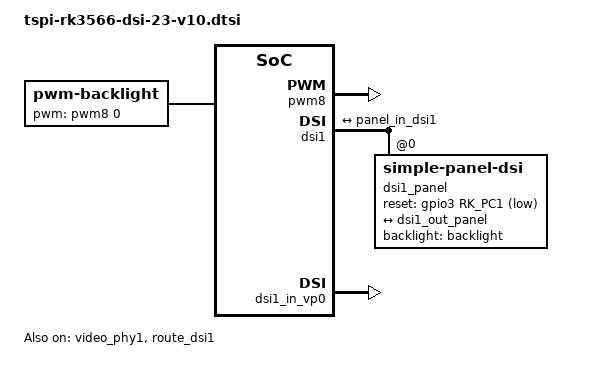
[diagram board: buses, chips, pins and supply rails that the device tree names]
/*********************************************************************
 *           立创开发板不靠卖板赚钱，以培养中国工程师为己任  
 *         泰山派软硬件资料与相关扩展板软硬件资料官网全部开源
 *                      开发板官网：www.lckfb.com            
 *                     立创论坛：oshwhub.com/forum           
 *            关注B站：【立创开发板】，掌握我们的最新动态！  
 *********************************************************************
 * 文件名：tspi-rk3566-dsi-v10.dtsi
 * 描述：mipi 屏幕
 * 更新:
 * 时间          作者           联系           说明
 * 2023-09-13   吴才成    1378913492@qq.com   v1.0.0
 *********************************************************************/
/ {
	backlight: backlight {
		compatible = "pwm-backlight";
		pwms = <&pwm8 0 25000 0>;
		brightness-levels = <
			  0  20  20  21  21  22  22  23
			 23  24  24  25  25  26  26  27
			 27  28  28  29  29  30  30  31
			 31  32  32  33  33  34  34  35
			 35  36  36  37  37  38  38  39
			 40  41  42  43  44  45  46  47
			 48  49  50  51  52  53  54  55
			 56  57  58  59  60  61  62  63
			 64  65  66  67  68  69  70  71
			 72  73  74  75  76  77  78  79
			 80  81  82  83  84  85  86  87
			 88  89  90  91  92  93  94  95
			 96  97  98  99 100 101 102 103
			104 105 106 107 108 109 110 111
			112 113 114 115 116 117 118 119
			120 121 122 123 124 125 126 127
			128 129 130 131 132 133 134 135
			136 137 138 139 140 141 142 143
			144 145 146 147 148 149 150 151
			152 153 154 155 156 157 158 159
			160 161 162 163 164 165 166 167
			168 169 170 171 172 173 174 175
			176 177 178 179 180 181 182 183
			184 185 186 187 188 189 190 191
			192 193 194 195 196 197 198 199
			200 201 202 203 204 205 206 207
			208 209 210 211 212 213 214 215
			216 217 218 219 220 221 222 223
			224 225 226 227 228 229 230 231
			232 233 234 235 236 237 238 239
			240 241 242 243 244 245 246 247
			248 249 250 251 252 253 254 255
		>;
		default-brightness-level = <255>;
	};
};

&pwm8 {
	status = "okay";
};


&pinctrl {
	dsi1 {
		dsi1_rst_gpio: dsi1-rst-gpio {
			rockchip,pins = <3 RK_PC1 RK_FUNC_GPIO &pcfg_pull_none>;
		};
	};
};

/*
 * video_phy1 needs to be enabled
 * when dsi1 is enabled
 */
&dsi1 {
	status = "okay";
};

&dsi1_in_vp0 {
	status = "okay";
};

&dsi1_in_vp1 {
	status = "disabled";
};

&video_phy1 {
	status = "okay";
};

&route_dsi1 {
	status = "okay";//wucaicheng mipi okay
	connect = <&vp0_out_dsi1>;
};

&dsi1 {
	status = "okay";
	// rockchip,lane-rate = <320>;
	dsi1_panel: panel@0 {
		status = "okay";
		compatible = "simple-panel-dsi";
		reset-gpios = <&gpio3 RK_PC1 GPIO_ACTIVE_LOW>;
		pinctrl-names = "default";
		pinctrl-0 = <&dsi1_rst_gpio>;
		reg = <0>;
		backlight = <&backlight>;
		reset-delay-ms = <10>;
		enable-delay-ms = <0>;   // 没有用到 enable-gpio 这个感觉可以不加
		prepare-delay-ms = <20>; // reset 前的延时
		unprepare-delay-ms = <20>;
		disable-delay-ms = <50>;
		init-delay-ms = <30>;  // reset 后的延时 加上之后屏幕成功正常显示，不加导致闪屏
		dsi,flags = <(MIPI_DSI_MODE_VIDEO | MIPI_DSI_MODE_VIDEO_BURST |
			MIPI_DSI_MODE_LPM | MIPI_DSI_MODE_EOT_PACKET)>;
		dsi,format = <MIPI_DSI_FMT_RGB888>;
		dsi,lanes  = <2>;
		panel-init-sequence = [
			39 00 06 FF 77 01 00 00 13
			15 00 02 EF 08
			39 00 06 FF 77 01 00 00 10
			39 00 03 C0 44 00
			39 00 03 C1 0B 02
			39 00 03 C2 07 1F
			15 00 02 CC 10
			39 00 11 B0 0F 1E 25 0D 11 06 12 08 08 2A 05 12 10 2B 32 1F
			39 00 11 B1 0F 1E 25 0D 11 05 12 08 08 2B 05 12 10 2B 32 1F
			39 00 06 FF 77 01 00 00 11
			15 00 02 B0 35
			15 00 02 B1 45
			15 00 02 B2 87
			15 00 02 B3 80
			15 00 02 B5 49
			15 00 02 B7 85
			15 00 02 B8 11
			15 00 02 BB 03
			15 00 02 C0 07
			15 00 02 C1 78
			15 00 02 C2 78
			15 64 02 D0 88  // 延时 100ms(0x64)
			39 00 04 E0 00 00 02 
			39 00 0C E1 03 30 07 30 02 30 06 30 00 44 44
			39 00 0C E2 00 00 00 00 00 00 00 00 00 00 00
			39 00 05 E3 00 00 22 00
			39 00 03 E4 22 00
			39 00 11 E5 0A 34 30 E0 08 32 30 E0 00 00 00 00 00 00 00 00
			39 00 05 E6 00 00 22 00
			39 00 03 E7 22 00
			39 00 11 E8 09 33 30 E0 07 31 30 E0 00 00 00 00 00 00 00 00
			39 00 08 EB 00 01 10 10 11 00 00
			39 00 11 ED FF FF F0 45 BA 2F FF FF FF FF F2 AB 54 0F FF FF
			39 00 07 EF 08 08 08 45 3F 54
			39 00 06 FF 77 01 00 00 13
			39 00 03 E8 00 0E
			05 78 01 11            // Sleep Out + 延时 120ms
			39 0A 03 E8 00 0C      // 延时 10ms
			39 00 03 E8 00 00
			39 00 06 FF 77 01 00 00 00
			05 32 01 29            // Display On + 延时 50ms
		];


		panel-exit-sequence = [
			05 00 01 28
			05 00 01 10
		];

		disp_timings1: display-timings {
			native-mode = <&dsi1_timing0>;
			dsi1_timing0: timing0 {
				clock-frequency = <18000000>;  // MIPI DSI 时钟频率

				hactive = <368>;       // 有效像素
				vactive = <552>;

				hfront-porch = <60>;   
				hsync-len = <2>;       
				hback-porch = <60>;   
				vfront-porch = <20>;   
				vsync-len = <2>;      
				vback-porch = <20>;    
				hsync-active = <0>;
				vsync-active = <0>;
				de-active = <0>;
				pixelclk-active = <0>;
			};
		};

		ports {
			#address-cells = <1>;
			#size-cells = <0>;

			port@0 {
				reg = <0>;
				panel_in_dsi1: endpoint {
					remote-endpoint = <&dsi1_out_panel>;
				};
			};
		};
	};

	ports {
		#address-cells = <1>;
		#size-cells = <0>;

		port@1 {
			reg = <1>;
			dsi1_out_panel: endpoint {
				remote-endpoint = <&panel_in_dsi1>;
			};
		};
	};

};

// &dsi1 {
// 	status = "okay";
// 	rockchip,lane-rate = <1000>;
// 	dsi1_panel: panel@0 {
// 		status = "okay";
// 		compatible = "simple-panel-dsi";
// 		reset-gpios = <&gpio3 RK_PC1 GPIO_ACTIVE_LOW>;
// 		pinctrl-names = "default";
// 		pinctrl-0 = <&dsi1_rst_gpio>;
// 		reg = <0>;
// 		backlight = <&backlight>;
// 		reset-delay-ms = <100>;
// 		enable-delay-ms = <120>;
// 		prepare-delay-ms = <20>;
// 		unprepare-delay-ms = <20>;
// 		disable-delay-ms = <100>;
// 		dsi,flags = <(MIPI_DSI_MODE_VIDEO | MIPI_DSI_MODE_VIDEO_BURST |
// 			MIPI_DSI_MODE_LPM | MIPI_DSI_MODE_EOT_PACKET)>;
// 		dsi,format = <MIPI_DSI_FMT_RGB888>;
// 		dsi,lanes  = <4>;
// 		panel-init-sequence = [
// 			15 00 02 B0 01
// 			15 00 02 C3 4F
// 			15 00 02 C4 40
// 			15 00 02 C5 40
// 			15 00 02 C6 40
// 			15 00 02 C7 40
// 			15 00 02 C8 4D
// 			15 00 02 C9 52
// 			15 00 02 CA 51
// 			15 00 02 CD 5D
// 			15 00 02 CE 5B
// 			15 00 02 CF 4B
// 			15 00 02 D0 49
// 			15 00 02 D1 47
// 			15 00 02 D2 45
// 			15 00 02 D3 41
// 			15 00 02 D7 50
// 			15 00 02 D8 40
// 			15 00 02 D9 40
// 			15 00 02 DA 40
// 			15 00 02 DB 40
// 			15 00 02 DC 4E
// 			15 00 02 DD 52
// 			15 00 02 DE 51
// 			15 00 02 E1 5E
// 			15 00 02 E2 5C
// 			15 00 02 E3 4C
// 			15 00 02 E4 4A
// 			15 00 02 E5 48
// 			15 00 02 E6 46
// 			15 00 02 E7 42
// 			15 00 02 B0 03
// 			15 00 02 BE 03
// 			15 00 02 CC 44
// 			15 00 02 C8 07
// 			15 00 02 C9 05
// 			15 00 02 CA 42
// 			15 00 02 CD 3E
// 			15 00 02 CF 60
// 			15 00 02 D2 04
// 			15 00 02 D3 04
// 			15 00 02 D4 01
// 			15 00 02 D5 00
// 			15 00 02 D6 03
// 			15 00 02 D7 04
// 			15 00 02 D9 01
// 			15 00 02 DB 01
// 			15 00 02 E4 F0
// 			15 00 02 E5 0A
// 			15 00 02 B0 00
// 			15 00 02 B1 08
// 			15 00 02 BD 54
// 			15 00 02 C2 06
// 			15 00 02 C4 0B
// 			15 00 02 B0 02
// 			15 00 02 C0 00
// 			15 00 02 C1 0A
// 			15 00 02 C2 20
// 			15 00 02 C3 24
// 			15 00 02 C4 23
// 			15 00 02 C5 29
// 			15 00 02 C6 23
// 			15 00 02 C7 1C
// 			15 00 02 C8 19
// 			15 00 02 C9 17
// 			15 00 02 CA 17
// 			15 00 02 CB 18
// 			15 00 02 CC 1A
// 			15 00 02 CD 1E
// 			15 00 02 CE 20
// 			15 00 02 CF 23
// 			15 00 02 D0 07
// 			15 00 02 D1 00
// 			15 00 02 D2 00
// 			15 00 02 D3 0A
// 			15 00 02 D4 13
// 			15 00 02 D5 1C
// 			15 00 02 D6 1A
// 			15 00 02 D7 13
// 			15 00 02 D8 17
// 			15 00 02 D9 1C
// 			15 00 02 DA 19
// 			15 00 02 DB 17
// 			15 00 02 DC 17
// 			15 00 02 DD 18
// 			15 00 02 DE 1A
// 			15 00 02 DF 1E
// 			15 00 02 E0 20
// 			15 00 02 E1 23
// 			15 00 02 E2 07
// 			05 78 01 11
// 			05 14 01 29
// 		];

// 		panel-exit-sequence = [
// 			05 00 01 28
// 			05 00 01 10
// 		];

// 		disp_timings1: display-timings {
// 			native-mode = <&dsi1_timing0>;
// 			dsi1_timing0: timing0 {
// 				clock-frequency = <156000000>;
// 				hactive = <1200 >;
// 				vactive = <1920>;
// 				hfront-porch = <42>;
// 				hsync-len = <10>;
// 				hback-porch = <32>;
// 				vfront-porch = <35>;
// 				vsync-len = <4>;
// 				vback-porch = <30>;
// 				hsync-active = <0>;
// 				vsync-active = <0>;
// 				de-active = <0>;
// 				pixelclk-active = <0>;
// 			};
// 		};

// 		ports {
// 			#address-cells = <1>;
// 			#size-cells = <0>;

// 			port@0 {
// 				reg = <0>;
// 				panel_in_dsi1: endpoint {
// 					remote-endpoint = <&dsi1_out_panel>;
// 				};
// 			};
// 		};
// 	};

// 	ports {
// 		#address-cells = <1>;
// 		#size-cells = <0>;

// 		port@1 {
// 			reg = <1>;
// 			dsi1_out_panel: endpoint {
// 				remote-endpoint = <&panel_in_dsi1>;
// 			};
// 		};
// 	};

// };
